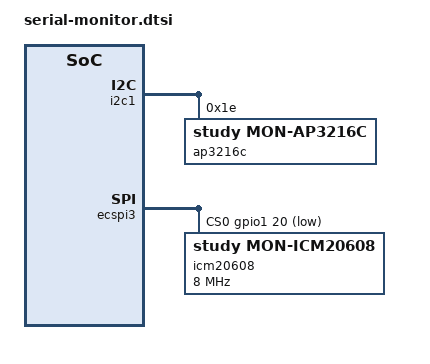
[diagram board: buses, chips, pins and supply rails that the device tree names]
/* Include AT THE END of the correct ALPHA eMMC .dts, not as a standalone overlay.
 * The existing board DTS must define these controllers and pinctrl groups.
 * Merge into existing nodes of identical names; inspect your DTS before building.
 */
&i2c1 {
    status = "okay";
    ap3216c@1e {
        compatible = "study,mon-ap3216c";
        reg = <0x1e>;
        status = "okay";
    };
};
&ecspi3 {
    status = "okay";
    fsl,spi-num-chipselects = <1>;
    cs-gpios = <&gpio1 20 GPIO_ACTIVE_LOW>;
    pinctrl-names = "default";
    pinctrl-0 = <&pinctrl_ecspi3>;
    icm20608@0 {
        compatible = "study,mon-icm20608";
        reg = <0>;
        spi-max-frequency = <8000000>;
        status = "okay";
    };
};
